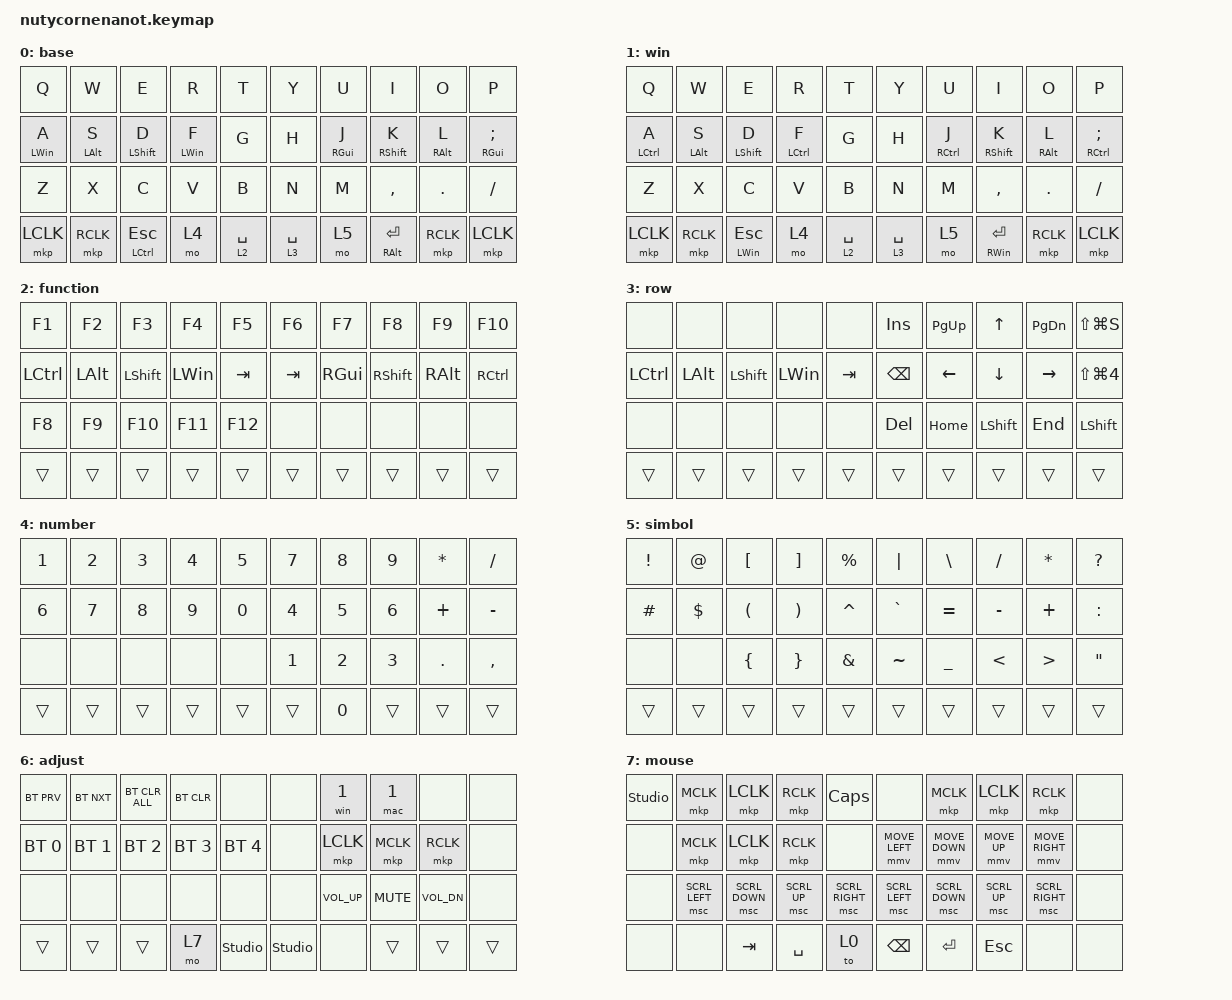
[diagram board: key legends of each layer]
/*
 * Copyright (c) 2020 The ZMK Contributors
 * 
 * SPDX-License-Identifier: MIT
 */

#define ZMK_POINTING_DEFAULT_MOVE_VAL 800  // default: 600
#define ZMK_POINTING_DEFAULT_SCRL_VAL 400    // default: 20

#include <dt-bindings/zmk/input_transform.h>
#include <zephyr/dt-bindings/input/input-event-codes.h>
#include <behaviors.dtsi>
#include <dt-bindings/zmk/bt.h>
#include <dt-bindings/zmk/keys.h>
#include <dt-bindings/zmk/pointing.h>

&mmv { acceleration-exponent = <0>; };

&glidepoint_rh_listener { input-processors = <&zip_xy_scaler 3 3>; };

&glidepoint_rh_listener {
    scroller {
        //layers = <1 3>;

        layers = <3>;
        input-processors =
            <&zip_xy_to_scroll_mapper>,
            <&zip_scroll_scaler (-1) 1>;
    };
};

/ {
    behaviors {
        hm: homerow_mods {
            compatible = "zmk,behavior-hold-tap";
            #binding-cells = <2>;
            tapping-term-ms = <200>;
            flavor = "tap-preferred";
            require-prior-idle-ms = <200>;
            bindings = <&kp>, <&kp>;
        };

        win: os_win {
            compatible = "zmk,behavior-toggle-layer";
            #binding-cells = <1>;
            display-name = "WIN";
            toggle-mode = "on";
        };

        mac: os_mac {
            compatible = "zmk,behavior-toggle-layer";
            #binding-cells = <1>;
            display-name = "MAC";
            toggle-mode = "off";
        };
    };

    combos {
        compatible = "zmk,combos";

        esc {
            bindings = <&kp ESCAPE>;
            key-positions = <0 1>;
        };

        bluetooth {
            bindings = <&mo 6>;
            key-positions = <34 35>;
        };
    };

    keymap {
        compatible = "zmk,keymap";

        base {
            bindings = <
  &kp Q           &kp W           &kp E             &kp R         &kp T         &kp Y         &kp U       &kp I              &kp O            &kp P
  &hm LEFT_WIN A  &hm LEFT_ALT S  &hm LEFT_SHIFT D  &hm LEFT_WIN F  &kp G       &kp H         &hm RIGHT_GUI J  &hm RIGHT_SHIFT K  &hm RIGHT_ALT L  &hm RIGHT_GUI SEMI
  &kp Z           &kp X           &kp C             &kp V         &kp B         &kp N         &kp M       &kp COMMA          &kp DOT          &kp FSLH
  &mkp LCLK       &mkp RCLK       &mt LCTRL ESC     &mo 4         &lt 2 SPACE   &lt 3 SPACE   &mo 5       &mt RALT ENTER     &mkp RCLK        &mkp LCLK
            >;
        };

        win {
            bindings = <
  &kp Q           &kp W           &kp E             &kp R         &kp T         &kp Y         &kp U       &kp I              &kp O            &kp P
  &hm LCTRL A     &hm LEFT_ALT S  &hm LEFT_SHIFT D  &hm LCTRL F     &kp G       &kp H         &hm RCTRL J      &hm RIGHT_SHIFT K  &hm RIGHT_ALT L  &hm RCTRL SEMI
  &kp Z           &kp X           &kp C             &kp V         &kp B         &kp N         &kp M       &kp COMMA          &kp DOT          &kp FSLH
  &mkp LCLK       &mkp RCLK       &mt LWIN ESC      &mo 4         &lt 2 SPACE   &lt 3 SPACE   &mo 5       &mt RWIN ENTER     &mkp RCLK        &mkp LCLK
            >;
        };

        function {
            bindings = <
  &kp F1     &kp F2    &kp F3         &kp F4         &kp F5        &kp F6        &kp F7        &kp F8         &kp F9         &kp F10
  &kp LEFT_CONTROL  &kp LEFT_ALT  &kp LEFT_SHIFT  &kp LEFT_WIN   &kp TAB   &kp TAB       &kp RIGHT_GUI &kp RIGHT_SHIFT &kp RIGHT_ALT  &kp RCTRL
  &kp F8     &kp F9    &kp F10        &kp F11        &kp F12       &none         &none         &none          &none          &none
  &trans     &trans    &trans         &trans         &trans        &trans        &trans        &trans         &trans         &trans
            >;
        };

        row {
            bindings = <
  &none      &none      &none         &none          &none         &kp INS       &kp PG_UP     &kp UP         &kp PG_DN      &kp LS(LG(S))
  &kp LEFT_CONTROL  &kp LEFT_ALT  &kp LEFT_SHIFT  &kp LEFT_WIN   &kp TAB   &kp BSPC      &kp LEFT      &kp DOWN       &kp RIGHT      &kp LS(LG(N4))
  &none      &none      &none         &none          &none         &kp DEL       &kp HOME      &kp LSHFT      &kp END        &kp LSHFT
  &trans     &trans     &trans        &trans         &trans        &trans        &trans        &trans         &trans         &trans
            >;
        };

        number {
            bindings = <
  &kp N1     &kp N2    &kp N3         &kp N4         &kp N5        &kp N7        &kp N8        &kp N9         &kp ASTRK      &kp SLASH
  &kp N6     &kp N7    &kp N8         &kp N9         &kp N0        &kp N4        &kp N5        &kp N6         &kp PLUS       &kp MINUS
  &none      &none     &none          &none          &none         &kp N1        &kp N2        &kp N3         &kp DOT        &kp COMMA
  &trans     &trans    &trans         &trans         &trans        &trans        &kp N0        &trans         &trans         &trans
            >;
        };

        simbol {
            bindings = <
  &kp EXCL   &kp AT    &kp LBKT       &kp RBKT       &kp PRCNT     &kp PIPE      &kp BSLH      &kp SLASH      &kp ASTRK      &kp QMARK
  &kp HASH   &kp DLLR  &kp LPAR       &kp RPAR       &kp CARET     &kp GRAVE     &kp EQUAL     &kp MINUS      &kp PLUS       &kp COLON
  &none      &none     &kp LBRC       &kp RBRC       &kp AMPS      &kp TILDE     &kp UNDER     &kp LT         &kp GT         &kp DQT
  &trans     &trans    &trans         &trans         &trans        &trans        &trans        &trans         &trans         &trans
            >;
        };

        adjust {
            bindings = <
  &bt BT_PRV    &bt BT_NXT    &bt BT_CLR_ALL  &bt BT_CLR    &none         &none         &win 1        &mac 1         &none          &none
  &bt BT_SEL 0  &bt BT_SEL 1  &bt BT_SEL 2    &bt BT_SEL 3  &bt BT_SEL 4  &none         &mkp LCLK     &mkp MCLK      &mkp RCLK      &none
  &none         &none         &none           &none         &none         &none         &kp C_VOL_UP  &kp K_MUTE     &kp C_VOL_DN   &none
  &trans        &trans        &trans          &mo 7         &studio_unlock  &studio_unlock  &none       &trans         &trans         &trans
            >;
        };

        mouse {
            bindings = <
  &studio_unlock  &mkp MCLK       &mkp LCLK       &mkp RCLK     &kp CAPS         &none           &mkp MCLK       &mkp LCLK     &mkp RCLK        &none
  &none           &mkp MCLK       &mkp LCLK       &mkp RCLK     &none            &mmv MOVE_LEFT  &mmv MOVE_DOWN  &mmv MOVE_UP  &mmv MOVE_RIGHT  &none
  &none           &msc SCRL_LEFT  &msc SCRL_DOWN  &msc SCRL_UP  &msc SCRL_RIGHT  &msc SCRL_LEFT  &msc SCRL_DOWN  &msc SCRL_UP  &msc SCRL_RIGHT  &none
  &none           &none           &kp TAB         &kp SPACE     &to 0            &kp BACKSPACE   &kp ENTER       &kp ESC       &none            &none
            >;
        };
    };
};
